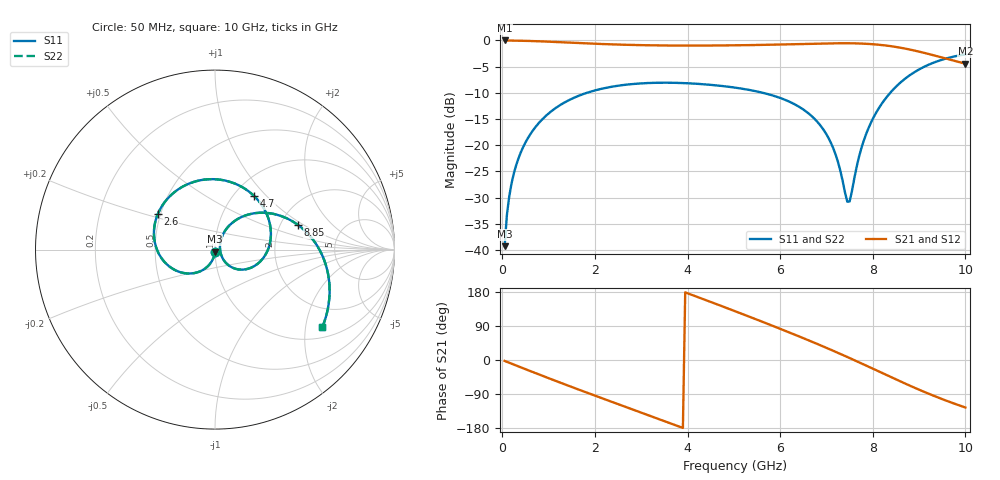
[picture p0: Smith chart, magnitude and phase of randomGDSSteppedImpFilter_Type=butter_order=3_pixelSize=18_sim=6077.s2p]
! freq	dB(S11)	phase(S11)	dB(S12)	phase(S12)
!  dB(S21)	phase(S21)	dB(S22)	phase(S22)
!S-par simulation data
#  GHz  S  DB  R 50
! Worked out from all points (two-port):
!   200 points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, 50 MHz to 10 GHz, reference 50 ohm
!   highest |S21| = 0.00 dB at 50 MHz (marker M1); lowest = -4.4 dB at 10 GHz (marker M2)
!   |S21| within 3 dB of the highest: start of sweep to 9.388 GHz
!   lowest |S11| = -39.2 dB at 50 MHz (marker M3), VSWR 1.02, Z = 49.9 - j1.09 ohm
!   |S11| at or under -10 dB: start of sweep to 1.825 GHz; 5.631 GHz to 8.376 GHz (2.746 GHz wide, 39.2 % of centre)
!   |S22| runs from -39.2 to -2.6 dB; largest |S21 - S12| = 0
!   S11 on the Smith chart (normalised r, x): 50 MHz: 1.00, -0.02; 2.6 GHz: 0.48, +0.22; 4.7 GHz: 1.23, +0.85; 8.85 GHz: 2.49, +0.89; 10 GHz: 1.31, -2.48
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0.05  -39.25 -92.3  -0.00 -2.5  -0.00 -2.5  -39.25 -92.3
0.1  -33.24 -95.0  -0.01 -4.9  -0.01 -4.9  -33.24 -95.0
0.2  -27.27 -100.0  -0.02 -9.8  -0.02 -9.8  -27.27 -100.0
0.5  -19.47 -114.6  -0.08 -24.2  -0.08 -24.2  -19.47 -114.6
1.15  -12.91 -145.6  -0.29 -55.0  -0.29 -55.0  -12.91 -145.6
1.75  -10.22 -173.4  -0.53 -82.7  -0.53 -82.7  -10.23 -173.5
2.6  -8.52 148.2  -0.81 -120.9  -0.81 -120.9  -8.52 148.2
3.4  -8.07 112.5  -0.95 -156.7  -0.95 -156.7  -8.07 112.5
4.05  -8.19 83.3  -0.98 173.9  -0.98 173.9  -8.19 83.3
4.7  -8.65 53.8  -0.96 144.0  -0.96 144.0  -8.65 53.8
5.05  -9.03 37.9  -0.93 127.7  -0.93 127.7  -9.03 37.8
5.9  -10.67 -1.1  -0.80 87.2  -0.80 87.2  -10.67 -1.1
6.7  -14.59 -36.7  -0.62 47.5  -0.62 47.5  -14.59 -36.8
7.1  -19.61 -50.1  -0.55 26.8  -0.55 26.8  -19.62 -50.2
7.25  -23.23 -49.4  -0.53 18.8  -0.53 18.8  -23.24 -49.6
7.45  -30.76 -8.1  -0.53 7.9  -0.53 7.9  -30.84 -8.2
7.5  -30.73 19.1  -0.54 5.2  -0.54 5.2  -30.80 19.2
7.85  -18.01 61.5  -0.63 -14.3  -0.63 -14.3  -18.01 61.6
8.35  -10.26 41.6  -1.04 -42.7  -1.04 -42.7  -10.26 41.6
8.85  -6.33 16.6  -1.83 -70.4  -1.83 -70.4  -6.33 16.6
9.4  -3.96 -10.0  -3.03 -98.5  -3.03 -98.5  -3.96 -10.0
10  -2.64 -35.8  -4.44 -125.4  -4.44 -125.4  -2.64 -35.8
